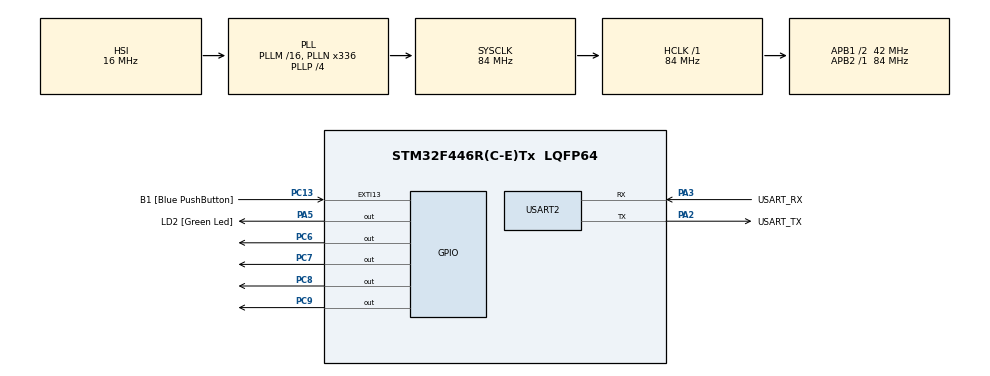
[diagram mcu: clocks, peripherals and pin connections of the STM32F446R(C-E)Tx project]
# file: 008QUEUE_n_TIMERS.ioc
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Mcu.Family=STM32F4
Mcu.Name=STM32F446R(C-E)Tx
Mcu.Package=LQFP64
NVIC.PriorityGroup=NVIC_PRIORITYGROUP_4
NVIC.TIM6_DAC_IRQn=true\:15\:0\:false\:false\:true\:false\:true\:true
NVIC.TimeBase=TIM6_DAC_IRQn
NVIC.TimeBaseIP=TIM6
NVIC.USART2_IRQn=true\:6\:0\:true\:false\:true\:true\:true\:true
PA13.GPIO_Label=TMS
PA13.Signal=SYS_JTMS-SWDIO
PA14.GPIO_Label=TCK
PA14.Signal=SYS_JTCK-SWCLK
PA2.GPIO_Label=USART_TX
PA2.Mode=Asynchronous
PA2.Signal=USART2_TX
PA3.GPIO_Label=USART_RX
PA3.Mode=Asynchronous
PA3.Signal=USART2_RX
PA5.GPIO_Label=LD2 [Green Led]
PA5.Signal=GPIO_Output
PB3.GPIO_Label=SWO
PB3.Signal=SYS_JTDO-SWO
PC13.GPIO_Label=B1 [Blue PushButton]
PC13.GPIO_ModeDefaultEXTI=GPIO_MODE_IT_FALLING
PC13.Signal=GPXTI13
PC14-OSC32_IN.Signal=RCC_OSC32_IN
PC15-OSC32_OUT.Signal=RCC_OSC32_OUT
PC6.Signal=GPIO_Output
PC7.Signal=GPIO_Output
PC8.Signal=GPIO_Output
PC9.Signal=GPIO_Output
PH0-OSC_IN.Signal=RCC_OSC_IN
PH1-OSC_OUT.Signal=RCC_OSC_OUT
ProjectManager.HeapSize=0x200
ProjectManager.StackSize=0x400
ProjectManager.TargetToolchain=STM32CubeIDE
RCC.AHBFreq_Value=84000000
RCC.APB1CLKDivider=RCC_HCLK_DIV2
RCC.APB1Freq_Value=42000000
RCC.APB1TimFreq_Value=84000000
RCC.APB2Freq_Value=84000000
RCC.APB2TimFreq_Value=84000000
RCC.CortexFreq_Value=84000000
RCC.FLatency-AdvancedSettings=FLASH_LATENCY_2
RCC.HCLKFreq_Value=84000000
RCC.HSE_VALUE=8000000
RCC.HSI_VALUE=16000000
RCC.LSE_VALUE=32768
RCC.PLLN=336
RCC.PLLP=RCC_PLLP_DIV4
RCC.SYSCLKFreq_VALUE=84000000
RCC.SYSCLKSource=RCC_SYSCLKSOURCE_PLLCLK
RCC.USBFreq_Value=168000000
RCC.VCOOutputFreq_Value=336000000
RTC.HourFormat=RTC_HOURFORMAT_12
USART2.VirtualMode=VM_ASYNC
VP_RTC_VS_RTC_Activate.Mode=RTC_Enabled
VP_SYS_VS_tim6.Mode=TIM6
board=NUCLEO-F446RE

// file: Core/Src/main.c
/* USER CODE BEGIN Header */
/**
  ******************************************************************************
  * @file           : main.c
  * @brief          : Main program body
  ******************************************************************************
  * @attention
  *
  * Copyright (c) 2023 STMicroelectronics.
  * All rights reserved.
  *
  * This software is licensed under terms that can be found in the LICENSE file
  * in the root directory of this software component.
  * If no LICENSE file comes with this software, it is provided AS-IS.
  *
  ******************************************************************************
  */
/* USER CODE END Header */
#include "main.h"

RTC_HandleTypeDef hrtc;

UART_HandleTypeDef huart2;

/* USER CODE BEGIN PV */

TaskHandle_t handle_menu_task;
TaskHandle_t handle_command_task;
TaskHandle_t handle_print_task;
TaskHandle_t handle_led_task;
TaskHandle_t handle_rtc_task;

QueueHandle_t 	Queue_Data;
QueueHandle_t 	Queue_Print;

TimerHandle_t 	handle_software_timers[4];

TimerHandle_t rtc_timer;
state_t curr_state= sMainMenu;
volatile uint8_t user_data;

/* USER CODE END PV */

void SystemClock_Config(void);
static void MX_GPIO_Init(void);
static void MX_RTC_Init(void);
static void MX_USART2_UART_Init(void);

/* USER CODE BEGIN 0 */
void led_timer_callback(TimerHandle_t xTimer);
/* USER CODE END 0 */

int main(void)
{

  /* MCU Configuration--------------------------------------------------------*/

  /* Reset of all peripherals, Initializes the Flash interface and the Systick. */
  HAL_Init();

  /* Configure the system clock */
  SystemClock_Config();

  /* Initialize all configured peripherals */
  MX_GPIO_Init();
  MX_RTC_Init();
  MX_USART2_UART_Init();
  /* USER CODE BEGIN 2 */

  BaseType_t status;

  status =xTaskCreate(menu_task, "Menu_Task", 250, NULL	, 2, &handle_menu_task);
  configASSERT(status==pdPASS);

  status =xTaskCreate(command_task, "Command_Task", 250, NULL	, 2, &handle_command_task);
  configASSERT(status==pdPASS);

  status =xTaskCreate(print_task, "Print_Task", 250, NULL	, 2, &handle_print_task);
  configASSERT(status==pdPASS);

  status =xTaskCreate(LED_task, "LED Control", 250, NULL	, 2, &handle_led_task);
  configASSERT(status==pdPASS);

  status =xTaskCreate(RTC_Task, "RTC Task", 250, NULL	, 2, &handle_rtc_task);
  configASSERT(status==pdPASS);

  Queue_Data=xQueueCreate(10,sizeof(char));
  configASSERT(Queue_Data!=NULL);

  Queue_Print=xQueueCreate(10,sizeof(size_t));
  configASSERT(Queue_Print!=NULL);

  //Creating 4 software TIMERS for the LED Tasks
  for(uint8_t i=0;i<=3;i++){
  handle_software_timers[i]=xTimerCreate("LED Timer", pdMS_TO_TICKS(500), pdTRUE, (void*)(i+1), &led_timer_callback);
  }
  HAL_UART_Receive_IT(&huart2,(uint8_t*)&user_data, 1);

  //  Start the freeRTOS Scheduler
  vTaskStartScheduler();

  /* USER CODE END 2 */

  /* Infinite loop */
  while (1)
  {

  }
}

void SystemClock_Config(void)
{
  RCC_OscInitTypeDef RCC_OscInitStruct = {0};
  RCC_ClkInitTypeDef RCC_ClkInitStruct = {0};

  /** Configure the main internal regulator output voltage
  */
  __HAL_RCC_PWR_CLK_ENABLE();
  __HAL_PWR_VOLTAGESCALING_CONFIG(PWR_REGULATOR_VOLTAGE_SCALE3);

  /** Initializes the RCC Oscillators according to the specified parameters
  * in the RCC_OscInitTypeDef structure.
  */
  RCC_OscInitStruct.OscillatorType = RCC_OSCILLATORTYPE_HSI|RCC_OSCILLATORTYPE_LSI;
  RCC_OscInitStruct.LSEState = RCC_LSE_OFF;
  RCC_OscInitStruct.HSIState = RCC_HSI_ON;
  RCC_OscInitStruct.HSICalibrationValue = RCC_HSICALIBRATION_DEFAULT;
  RCC_OscInitStruct.LSIState = RCC_LSI_ON;
  RCC_OscInitStruct.PLL.PLLState = RCC_PLL_ON;
  RCC_OscInitStruct.PLL.PLLSource = RCC_PLLSOURCE_HSI;
  RCC_OscInitStruct.PLL.PLLM = 16;
  RCC_OscInitStruct.PLL.PLLN = 336;
  RCC_OscInitStruct.PLL.PLLP = RCC_PLLP_DIV4;
  RCC_OscInitStruct.PLL.PLLQ = 2;
  RCC_OscInitStruct.PLL.PLLR = 2;
  if (HAL_RCC_OscConfig(&RCC_OscInitStruct) != HAL_OK)
  {
    Error_Handler();
  }

  /** Initializes the CPU, AHB and APB buses clocks
  */
  RCC_ClkInitStruct.ClockType = RCC_CLOCKTYPE_HCLK|RCC_CLOCKTYPE_SYSCLK
                              |RCC_CLOCKTYPE_PCLK1|RCC_CLOCKTYPE_PCLK2;
  RCC_ClkInitStruct.SYSCLKSource = RCC_SYSCLKSOURCE_PLLCLK;
  RCC_ClkInitStruct.AHBCLKDivider = RCC_SYSCLK_DIV1;
  RCC_ClkInitStruct.APB1CLKDivider = RCC_HCLK_DIV2;
  RCC_ClkInitStruct.APB2CLKDivider = RCC_HCLK_DIV1;

  if (HAL_RCC_ClockConfig(&RCC_ClkInitStruct, FLASH_LATENCY_2) != HAL_OK)
  {
    Error_Handler();
  }
}

static void MX_RTC_Init(void)
{

  /** Initialize RTC Only
  */
  hrtc.Instance = RTC;
  hrtc.Init.HourFormat = RTC_HOURFORMAT_12;
  hrtc.Init.AsynchPrediv = 127;
  hrtc.Init.SynchPrediv = 255;
  hrtc.Init.OutPut = RTC_OUTPUT_DISABLE;
  hrtc.Init.OutPutPolarity = RTC_OUTPUT_POLARITY_HIGH;
  hrtc.Init.OutPutType = RTC_OUTPUT_TYPE_OPENDRAIN;
  if (HAL_RTC_Init(&hrtc) != HAL_OK)
  {
    Error_Handler();
  }

}

static void MX_USART2_UART_Init(void)
{

  huart2.Instance = USART2;
  huart2.Init.BaudRate = 115200;
  huart2.Init.WordLength = UART_WORDLENGTH_8B;
  huart2.Init.StopBits = UART_STOPBITS_1;
  huart2.Init.Parity = UART_PARITY_NONE;
  huart2.Init.Mode = UART_MODE_TX_RX;
  huart2.Init.HwFlowCtl = UART_HWCONTROL_NONE;
  huart2.Init.OverSampling = UART_OVERSAMPLING_16;
  if (HAL_UART_Init(&huart2) != HAL_OK)
  {
    Error_Handler();
  }

}

static void MX_GPIO_Init(void)
{
  GPIO_InitTypeDef GPIO_InitStruct = {0};

  /* GPIO Ports Clock Enable */
  __HAL_RCC_GPIOC_CLK_ENABLE();
  __HAL_RCC_GPIOH_CLK_ENABLE();
  __HAL_RCC_GPIOA_CLK_ENABLE();
  __HAL_RCC_GPIOB_CLK_ENABLE();

  /*Configure GPIO pin Output Level */
  HAL_GPIO_WritePin(LD2_GPIO_Port, LD2_Pin, GPIO_PIN_RESET);

  /*Configure GPIO pin Output Level */
  HAL_GPIO_WritePin(GPIOC, GPIO_PIN_6|GPIO_PIN_7|GPIO_PIN_8|GPIO_PIN_9, GPIO_PIN_RESET);

  /*Configure GPIO pin : B1_Pin */
  GPIO_InitStruct.Pin = B1_Pin;
  GPIO_InitStruct.Mode = GPIO_MODE_IT_FALLING;
  GPIO_InitStruct.Pull = GPIO_NOPULL;
  HAL_GPIO_Init(B1_GPIO_Port, &GPIO_InitStruct);

  /*Configure GPIO pin : LD2_Pin */
  GPIO_InitStruct.Pin = LD2_Pin;
  GPIO_InitStruct.Mode = GPIO_MODE_OUTPUT_PP;
  GPIO_InitStruct.Pull = GPIO_NOPULL;
  GPIO_InitStruct.Speed = GPIO_SPEED_FREQ_LOW;
  HAL_GPIO_Init(LD2_GPIO_Port, &GPIO_InitStruct);

  /*Configure GPIO pins : PC6 PC7 PC8 PC9 */
  GPIO_InitStruct.Pin = GPIO_PIN_6|GPIO_PIN_7|GPIO_PIN_8|GPIO_PIN_9;
  GPIO_InitStruct.Mode = GPIO_MODE_OUTPUT_PP;
  GPIO_InitStruct.Pull = GPIO_NOPULL;
  GPIO_InitStruct.Speed = GPIO_SPEED_FREQ_LOW;
  HAL_GPIO_Init(GPIOC, &GPIO_InitStruct);

}

/* USER CODE BEGIN 4 */

void led_timer_callback(TimerHandle_t xTimer){

	uint32_t id;
	/*Get which timer finished counting and wake up it`s own task*/
	id=(uint32_t)pvTimerGetTimerID(xTimer);

	switch (id){
	case 1:
		LED_effect1();
		break;

	case 2:
		LED_effect2();
		break;

	case 3:
		LED_effect3();
		break;

	case 4:
		LED_effect4();
		break;
	}
}
void HAL_UART_RxCpltCallback(UART_HandleTypeDef *huart)
{
	uint8_t dummy;

	//Check if the queue is full
	if(! xQueueIsQueueFullFromISR(Queue_Data))
	{
		/*Queue is not full */

		//Then you can send the data stored in user_data from UART
		xQueueSendFromISR(Queue_Data,(void*)&user_data,NULL);

	}
	else{
		/*Queue is full */
		if(user_data == '\n')
		{
			/*Checking if the last element received is just a NEW LINE Character*/
			/*if it`s just a NEW LINE Character remove the last queue element and replace it*/

			//Removing the last element of the queue
			xQueueReceiveFromISR(Queue_Data,(void*)&dummy, NULL);

			//Sending the \n to the queue last element
			xQueueSendFromISR(Queue_Data,(void*)&user_data,NULL);
		}
	}

	/* send notification to command handling task if user_data = '\n' */
	/*if we already received the \n that means the user has finished sending his command "data"*/
	if(user_data=='\n'){
		/*	we notify the task responsible for handling the commands received whic is command task*/
		xTaskNotifyFromISR(handle_command_task,0,eNoAction,NULL);
	}

	/*  Enable UART data byte reception again in IT mode */
	  HAL_UART_Receive_IT(&huart2,(uint8_t*)&user_data, 1);
}

/* USER CODE END 4 */

void HAL_TIM_PeriodElapsedCallback(TIM_HandleTypeDef *htim)
{
  if (htim->Instance == TIM6) {
    HAL_IncTick();
  }
}

void Error_Handler(void)
{
  __disable_irq();
  while (1)
  {
  }
}
